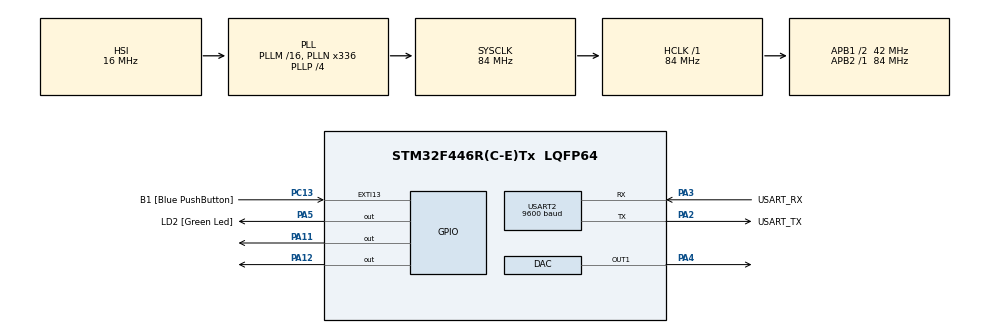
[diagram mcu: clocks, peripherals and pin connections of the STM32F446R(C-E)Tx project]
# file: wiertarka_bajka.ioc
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Mcu.Family=STM32F4
Mcu.Name=STM32F446R(C-E)Tx
Mcu.Package=LQFP64
NVIC.PriorityGroup=NVIC_PRIORITYGROUP_0
NVIC.USART2_IRQn=true\:0\:0\:false\:false\:true\:true\:true\:true
PA11.Signal=GPIO_Output
PA12.Signal=GPIO_Output
PA13.GPIO_Label=TMS
PA13.Mode=Serial_Wire
PA13.Signal=SYS_JTMS-SWDIO
PA14.GPIO_Label=TCK
PA14.Mode=Serial_Wire
PA14.Signal=SYS_JTCK-SWCLK
PA2.GPIO_Label=USART_TX
PA2.Mode=Asynchronous
PA2.Signal=USART2_TX
PA3.GPIO_Label=USART_RX
PA3.Mode=Asynchronous
PA3.Signal=USART2_RX
PA4.Signal=COMP_DAC1_group
PA5.GPIO_Label=LD2 [Green Led]
PA5.Signal=GPIO_Output
PB3.GPIO_Label=SWO
PB3.Signal=SYS_JTDO-SWO
PC13.GPIO_Label=B1 [Blue PushButton]
PC13.GPIO_ModeDefaultEXTI=GPIO_MODE_IT_FALLING
PC13.Signal=GPXTI13
PC14-OSC32_IN.Mode=LSE-External-Oscillator
PC14-OSC32_IN.Signal=RCC_OSC32_IN
PC15-OSC32_OUT.Mode=LSE-External-Oscillator
PC15-OSC32_OUT.Signal=RCC_OSC32_OUT
PH0-OSC_IN.Mode=HSE-External-Oscillator
PH0-OSC_IN.Signal=RCC_OSC_IN
PH1-OSC_OUT.Mode=HSE-External-Oscillator
PH1-OSC_OUT.Signal=RCC_OSC_OUT
ProjectManager.HeapSize=0x200
ProjectManager.StackSize=0x400
ProjectManager.TargetToolchain=STM32CubeIDE
RCC.48MHZClocksFreq_Value=84000000
RCC.AHBFreq_Value=84000000
RCC.APB1CLKDivider=RCC_HCLK_DIV2
RCC.APB1Freq_Value=42000000
RCC.APB1TimFreq_Value=84000000
RCC.APB2Freq_Value=84000000
RCC.APB2TimFreq_Value=84000000
RCC.CortexFreq_Value=84000000
RCC.FLatency-AdvancedSettings=FLASH_LATENCY_2
RCC.HCLKFreq_Value=84000000
RCC.HSE_VALUE=8000000
RCC.HSI_VALUE=16000000
RCC.PLLN=336
RCC.PLLP=RCC_PLLP_DIV4
RCC.SYSCLKFreq_VALUE=84000000
RCC.SYSCLKSource=RCC_SYSCLKSOURCE_PLLCLK
RCC.USBFreq_Value=168000000
RCC.VCOOutputFreq_Value=336000000
SH.COMP_DAC1_group.0=DAC_OUT1,DAC_OUT1
USART2.BaudRate=9600
USART2.VirtualMode=VM_ASYNC
board=NUCLEO-F446RE

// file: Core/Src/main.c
/* USER CODE BEGIN Header */
/**
  ******************************************************************************
  * @file           : main.c
  * @brief          : Main program body
  ******************************************************************************
  * @attention
  *
  * Copyright (c) 2024 STMicroelectronics.
  * All rights reserved.
  *
  * This software is licensed under terms that can be found in the LICENSE file
  * in the root directory of this software component.
  * If no LICENSE file comes with this software, it is provided AS-IS.
  *
  ******************************************************************************
  */
/* USER CODE END Header */
#include "main.h"

/* USER CODE BEGIN Includes */
#include "uart_data_handler.h"
/* USER CODE END Includes */

/* USER CODE BEGIN PD */
#define MAX_VOLTAGE 24.0 //do zmiany po wykonaniu pomiaru z baterią
#define MAX_NUMBER 4095.0 //max number for 12-bit converter
/* USER CODE END PD */

DAC_HandleTypeDef hdac;

UART_HandleTypeDef huart2;

void SystemClock_Config(void);
static void MX_GPIO_Init(void);
static void MX_USART2_UART_Init(void);
static void MX_DAC_Init(void);
/* USER CODE BEGIN PFP */
void receive_percent(uint8_t button_percent);
void turn_on_power(bool power_on_bit);
void change_direction(bool change_direction_bit);
/* USER CODE END PFP */

/* USER CODE BEGIN 0 */
uint32_t numarray[12];
uint16_t convert_percent_to_12bits_value(uint8_t percent)
{
	  float percent_16b = (float)percent;
	  float target_voltage = percent_16b/100.0*MAX_NUMBER;
//	  sprintf(numarray, "%d\n", percent);
//	  HAL_Delay(1000);
//	  HAL_UART_Transmit(&huart2, numarray, 4, 1000);

//	  HAL_Delay(1000);
	  return (uint16_t)target_voltage;
}

void send_via_DAC(uint8_t percent)
{
//	  uint16_t voltage = convert_percent_to_12bits_value(percent);
	  // HAL_UART_Transmit(&huart2, &percent, 1, 100);
	  HAL_DAC_SetValue(&hdac, DAC_CHANNEL_1, DAC_ALIGN_12B_R, percent*40);
}

void receive_percent(uint8_t button_percent)
{
	  send_via_DAC(button_percent);

}

void turn_on_power(bool power_on_bit)
{
	 if (power_on_bit)
	 {
		 HAL_GPIO_WritePin(GPIOA, GPIO_PIN_11, GPIO_PIN_SET);
	 }
	 else
	 {
		 HAL_GPIO_WritePin(GPIOA, GPIO_PIN_11, GPIO_PIN_RESET);
	 }
}

void change_direction(bool change_direction_bit)
{
	 if (change_direction_bit)
	 {
		 HAL_GPIO_WritePin(GPIOA, GPIO_PIN_12, GPIO_PIN_SET);
	 }
	 else
	 {
		 HAL_GPIO_WritePin(GPIOA, GPIO_PIN_12, GPIO_PIN_RESET);
	 }
}
/* USER CODE END 0 */

int main(void)
{

  /* MCU Configuration--------------------------------------------------------*/

  /* Reset of all peripherals, Initializes the Flash interface and the Systick. */
  HAL_Init();

  /* Configure the system clock */
  SystemClock_Config();

  /* Initialize all configured peripherals */
  MX_GPIO_Init();
  MX_USART2_UART_Init();
  MX_DAC_Init();
  /* USER CODE BEGIN 2 */
  HAL_DAC_Start(&hdac, DAC_CHANNEL_1);
  uart_data_handler_init();
  uart_data_handler_register_callback_power(turn_on_power);
  uart_data_handler_register_callback_speed(receive_percent);
  uart_data_handler_register_callback_direction(change_direction);
  //HAL_GPIO_WritePin(GPIOA, GPIO_PIN_11, GPIO_PIN_SET);

//  uint32_t numarray[12];
//  float convert_percent_to_voltage(uint8_t percent)
//  {
//	 float percent_float = (float)percent;
//	 float target_voltage  = percent_float/100.0*MAX_VOLTAGE;
//	 return target_voltage;
//  }

  /* USER CODE END 2 */

  /* Infinite loop */
  while (1)
  {

    /* USER CODE BEGIN 3 */

//	  HAL_DAC_SetValue(&hdac, DAC_CHANNEL_1, DAC_ALIGN_12B_R, dac_value);

  }
  /* USER CODE END 3 */
}

void SystemClock_Config(void)
{
  RCC_OscInitTypeDef RCC_OscInitStruct = {0};
  RCC_ClkInitTypeDef RCC_ClkInitStruct = {0};

  /** Configure the main internal regulator output voltage
  */
  __HAL_RCC_PWR_CLK_ENABLE();
  __HAL_PWR_VOLTAGESCALING_CONFIG(PWR_REGULATOR_VOLTAGE_SCALE3);

  /** Initializes the RCC Oscillators according to the specified parameters
  * in the RCC_OscInitTypeDef structure.
  */
  RCC_OscInitStruct.OscillatorType = RCC_OSCILLATORTYPE_HSI;
  RCC_OscInitStruct.HSIState = RCC_HSI_ON;
  RCC_OscInitStruct.HSICalibrationValue = RCC_HSICALIBRATION_DEFAULT;
  RCC_OscInitStruct.PLL.PLLState = RCC_PLL_ON;
  RCC_OscInitStruct.PLL.PLLSource = RCC_PLLSOURCE_HSI;
  RCC_OscInitStruct.PLL.PLLM = 16;
  RCC_OscInitStruct.PLL.PLLN = 336;
  RCC_OscInitStruct.PLL.PLLP = RCC_PLLP_DIV4;
  RCC_OscInitStruct.PLL.PLLQ = 2;
  RCC_OscInitStruct.PLL.PLLR = 2;
  if (HAL_RCC_OscConfig(&RCC_OscInitStruct) != HAL_OK)
  {
    Error_Handler();
  }

  /** Initializes the CPU, AHB and APB buses clocks
  */
  RCC_ClkInitStruct.ClockType = RCC_CLOCKTYPE_HCLK|RCC_CLOCKTYPE_SYSCLK
                              |RCC_CLOCKTYPE_PCLK1|RCC_CLOCKTYPE_PCLK2;
  RCC_ClkInitStruct.SYSCLKSource = RCC_SYSCLKSOURCE_PLLCLK;
  RCC_ClkInitStruct.AHBCLKDivider = RCC_SYSCLK_DIV1;
  RCC_ClkInitStruct.APB1CLKDivider = RCC_HCLK_DIV2;
  RCC_ClkInitStruct.APB2CLKDivider = RCC_HCLK_DIV1;

  if (HAL_RCC_ClockConfig(&RCC_ClkInitStruct, FLASH_LATENCY_2) != HAL_OK)
  {
    Error_Handler();
  }
}

static void MX_DAC_Init(void)
{

  DAC_ChannelConfTypeDef sConfig = {0};

  /** DAC Initialization
  */
  hdac.Instance = DAC;
  if (HAL_DAC_Init(&hdac) != HAL_OK)
  {
    Error_Handler();
  }

  /** DAC channel OUT1 config
  */
  sConfig.DAC_Trigger = DAC_TRIGGER_NONE;
  sConfig.DAC_OutputBuffer = DAC_OUTPUTBUFFER_ENABLE;
  if (HAL_DAC_ConfigChannel(&hdac, &sConfig, DAC_CHANNEL_1) != HAL_OK)
  {
    Error_Handler();
  }

}

static void MX_USART2_UART_Init(void)
{

  huart2.Instance = USART2;
  huart2.Init.BaudRate = 9600;
  huart2.Init.WordLength = UART_WORDLENGTH_8B;
  huart2.Init.StopBits = UART_STOPBITS_1;
  huart2.Init.Parity = UART_PARITY_NONE;
  huart2.Init.Mode = UART_MODE_TX_RX;
  huart2.Init.HwFlowCtl = UART_HWCONTROL_NONE;
  huart2.Init.OverSampling = UART_OVERSAMPLING_16;
  if (HAL_UART_Init(&huart2) != HAL_OK)
  {
    Error_Handler();
  }

}

static void MX_GPIO_Init(void)
{
  GPIO_InitTypeDef GPIO_InitStruct = {0};

  /* GPIO Ports Clock Enable */
  __HAL_RCC_GPIOC_CLK_ENABLE();
  __HAL_RCC_GPIOH_CLK_ENABLE();
  __HAL_RCC_GPIOA_CLK_ENABLE();
  __HAL_RCC_GPIOB_CLK_ENABLE();

  /*Configure GPIO pin Output Level */
  HAL_GPIO_WritePin(GPIOA, LD2_Pin|GPIO_PIN_11|GPIO_PIN_12, GPIO_PIN_RESET);

  /*Configure GPIO pin : B1_Pin */
  GPIO_InitStruct.Pin = B1_Pin;
  GPIO_InitStruct.Mode = GPIO_MODE_IT_FALLING;
  GPIO_InitStruct.Pull = GPIO_NOPULL;
  HAL_GPIO_Init(B1_GPIO_Port, &GPIO_InitStruct);

  /*Configure GPIO pins : LD2_Pin PA11 PA12 */
  GPIO_InitStruct.Pin = LD2_Pin|GPIO_PIN_11|GPIO_PIN_12;
  GPIO_InitStruct.Mode = GPIO_MODE_OUTPUT_PP;
  GPIO_InitStruct.Pull = GPIO_NOPULL;
  GPIO_InitStruct.Speed = GPIO_SPEED_FREQ_LOW;
  HAL_GPIO_Init(GPIOA, &GPIO_InitStruct);

}

void Error_Handler(void)
{
  __disable_irq();
  while (1)
  {
  }
}
